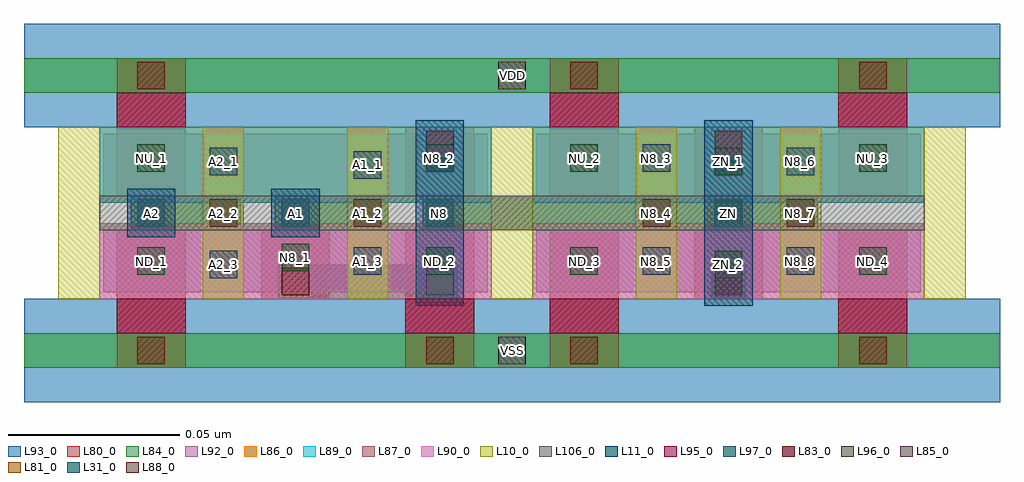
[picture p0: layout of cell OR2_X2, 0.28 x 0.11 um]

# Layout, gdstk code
import gdstk
lib = gdstk.Library(unit=1e-6, precision=1e-09)
def R(c, l, rs):  # rectangles x0, y0, x1, y1
    for r in rs: c.add(gdstk.rectangle(r[:2], r[2:], *l))
def A(c, l, x, y, w, h, nx, ny, dx, dy):  # array of equal rectangles
    R(c, l, [(x+i*dx, y+j*dy, x+i*dx+w, y+j*dy+h) for i in range(nx) for j in range(ny)])
L10_0 = (10, 0)
L11_0 = (11, 0)
L31_0 = (31, 0)
L80_0 = (80, 0)
L81_0 = (81, 0)
L83_0 = (83, 0)
L84_0 = (84, 0)
L85_0 = (85, 0)
L86_0 = (86, 0)
L87_0 = (87, 0)
L88_0 = (88, 0)
L89_0 = (89, 0)
L90_0 = (90, 0)
L92_0 = (92, 0)
L93_0 = (93, 0)
L95_0 = (95, 0)
L96_0 = (96, 0)
L97_0 = (97, 0)
L106_0 = (106, 0)

or2_x2 = lib.new_cell('OR2_X2')
A(or2_x2, L10_0, -0.027, 0.015, 0.012, 0.05, 7, 1, 0.042, 0)
R(or2_x2, L11_0, [(0.077,0.013,0.091,0.047), (0.161,0.013,0.175,0.047), (-0.007,0.033,0.007,0.047), (0.035,0.033,0.049,0.047), (0.077,0.033,0.091,0.067), (0.161,0.033,0.175,0.067)])
A(or2_x2, L31_0, -0.004, 0.036, 0.008, 0.008, 3, 1, 0.042, 0)
R(or2_x2, L31_0, [(0.164,0.036,0.172,0.044)])
A(or2_x2, L80_0, -0.01, 0.015, 0.02, 0.02, 6, 1, 0.042, 0)
R(or2_x2, L80_0, [(-0.01,-0.005,0.01,0.016), (0.074,-0.005,0.094,0.016), (0.116,-0.005,0.136,0.016), (0.2,-0.005,0.22,0.016), (-0.01,0.045,0.01,0.065), (-0.01,0.045,0.01,0.065), (0.074,0.045,0.094,0.065), (0.074,0.045,0.094,0.065), (0.116,0.045,0.136,0.065), (0.116,0.045,0.136,0.065), (0.158,0.045,0.178,0.065), (0.158,0.045,0.178,0.065), (0.2,0.045,0.22,0.065), (0.2,0.045,0.22,0.065), (-0.01,0.056,0.01,0.085), (0.116,0.056,0.136,0.085), (0.2,0.056,0.22,0.085)])
R(or2_x2, L81_0, [(0.017,0.036,0.025,0.044), (0.059,0.036,0.067,0.044), (0.143,0.036,0.151,0.044), (0.185,0.036,0.193,0.044)])
R(or2_x2, L83_0, [(-0.004,-0.004,0.004,0.004), (0.08,-0.004,0.088,0.004), (0.122,-0.004,0.13,0.004), (0.206,-0.004,0.214,0.004), (0.038,0.016,0.046,0.024), (0.164,0.016,0.172,0.024), (0.08,0.056,0.088,0.064), (0.164,0.056,0.172,0.064), (-0.004,0.076,0.004,0.084), (0.122,0.076,0.13,0.084), (0.206,0.076,0.214,0.084)])
A(or2_x2, L84_0, 0.079, 0.035, 0.031, 0.01, 5, 1, 0.021, 0)
R(or2_x2, L84_0, [(-0.037,-0.005,0.247,0.005), (0.037,0.015,0.068,0.025), (0.058,0.015,0.089,0.025), (0.163,0.015,0.173,0.025), (-0.006,0.035,0.026,0.045), (0.036,0.035,0.069,0.045), (0.079,0.055,0.089,0.065), (0.163,0.055,0.173,0.065), (-0.037,0.075,0.247,0.085)])
A(or2_x2, L85_0, -0.004, 0.036, 0.008, 0.008, 3, 1, 0.042, 0)
R(or2_x2, L85_0, [(0.08,0.016,0.088,0.024), (0.164,0.016,0.172,0.024), (0.08,0.056,0.088,0.064), (0.164,0.056,0.172,0.064)])
R(or2_x2, L86_0, [(-0.015,0.043,0.099,0.065), (0.111,0.043,0.225,0.065)])
R(or2_x2, L87_0, [(-0.015,0.015,0.099,0.037), (0.111,0.015,0.225,0.037)])
R(or2_x2, L88_0, [(0.101,-0.004,0.109,0.004), (0.101,0.076,0.109,0.084)])
R(or2_x2, L89_0, [(-0.015,0.043,0.099,0.065), (0.111,0.043,0.225,0.065)])
R(or2_x2, L90_0, [(-0.015,0.015,0.099,0.037), (0.111,0.015,0.225,0.037)])
R(or2_x2, L92_0, [(-0.014,0.017,0.098,0.035), (0.112,0.017,0.224,0.035), (-0.014,0.045,0.098,0.063), (0.112,0.045,0.224,0.063)])
R(or2_x2, L93_0, [(-0.037,-0.015,0.247,0.015), (-0.037,0.065,0.247,0.095)])
R(or2_x2, L95_0, [(-0.01,0.005,0.01,0.015), (0.074,0.005,0.094,0.015), (0.116,0.005,0.136,0.015), (0.2,0.005,0.22,0.015), (-0.01,0.065,0.01,0.075), (0.116,0.065,0.136,0.075), (0.2,0.065,0.22,0.075)])
R(or2_x2, L96_0, [(0.164,0.021,0.172,0.029), (-0.004,0.022,0.004,0.03), (0.08,0.022,0.088,0.03), (0.122,0.022,0.13,0.03), (0.206,0.022,0.214,0.03), (0.038,0.023,0.046,0.031), (0.164,0.051,0.172,0.059), (-0.004,0.052,0.004,0.06), (0.08,0.052,0.088,0.06), (0.122,0.052,0.13,0.06), (0.206,0.052,0.214,0.06)])
A(or2_x2, L97_0, 0.017, 0.021, 0.008, 0.008, 1, 3, 0, 0.015)
A(or2_x2, L97_0, 0.059, 0.022, 0.008, 0.008, 1, 3, 0, 0.014)
R(or2_x2, L97_0, [(0.143,0.022,0.151,0.03), (0.185,0.022,0.193,0.03), (0.143,0.036,0.151,0.044), (0.185,0.036,0.193,0.044), (0.185,0.051,0.193,0.059), (0.143,0.052,0.151,0.06)])
R(or2_x2, L106_0, [(-0.015,0.035,0.225,0.045)])
or2_x2.add(gdstk.Label('VSS', (0.105,0), layer=88, texttype=0))
or2_x2.add(gdstk.Label('VDD', (0.105,0.08), layer=88, texttype=0))
or2_x2.add(gdstk.Label('ZN_2', (0.168,0.025), layer=96, texttype=0))
or2_x2.add(gdstk.Label('ZN_1', (0.168,0.055), layer=96, texttype=0))
or2_x2.add(gdstk.Label('N8_1', (0.042,0.027), layer=96, texttype=0))
or2_x2.add(gdstk.Label('N8_2', (0.084,0.056), layer=96, texttype=0))
or2_x2.add(gdstk.Label('ND_1', (0,0.026), layer=96, texttype=0))
or2_x2.add(gdstk.Label('ND_2', (0.084,0.026), layer=96, texttype=0))
or2_x2.add(gdstk.Label('ND_3', (0.126,0.026), layer=96, texttype=0))
or2_x2.add(gdstk.Label('ND_4', (0.21,0.026), layer=96, texttype=0))
or2_x2.add(gdstk.Label('NU_3', (0.21,0.056), layer=96, texttype=0))
or2_x2.add(gdstk.Label('NU_2', (0.126,0.056), layer=96, texttype=0))
or2_x2.add(gdstk.Label('NU_1', (0,0.056), layer=96, texttype=0))
or2_x2.add(gdstk.Label('ZN', (0.168,0.04), layer=31, texttype=0))
or2_x2.add(gdstk.Label('N8', (0.084,0.04), layer=31, texttype=0))
or2_x2.add(gdstk.Label('A1', (0.042,0.04), layer=31, texttype=0))
or2_x2.add(gdstk.Label('A2', (0,0.04), layer=31, texttype=0))
or2_x2.add(gdstk.Label('N8_6', (0.189,0.055), layer=97, texttype=0))
or2_x2.add(gdstk.Label('N8_7', (0.189,0.04), layer=97, texttype=0))
or2_x2.add(gdstk.Label('N8_8', (0.189,0.026), layer=97, texttype=0))
or2_x2.add(gdstk.Label('N8_5', (0.147,0.026), layer=97, texttype=0))
or2_x2.add(gdstk.Label('N8_4', (0.147,0.04), layer=97, texttype=0))
or2_x2.add(gdstk.Label('N8_3', (0.147,0.056), layer=97, texttype=0))
or2_x2.add(gdstk.Label('A1_3', (0.063,0.026), layer=97, texttype=0))
or2_x2.add(gdstk.Label('A1_2', (0.063,0.04), layer=97, texttype=0))
or2_x2.add(gdstk.Label('A1_1', (0.063,0.054), layer=97, texttype=0))
or2_x2.add(gdstk.Label('A2_3', (0.021,0.025), layer=97, texttype=0))
or2_x2.add(gdstk.Label('A2_2', (0.021,0.04), layer=97, texttype=0))
or2_x2.add(gdstk.Label('A2_1', (0.021,0.055), layer=97, texttype=0))

lib.write_gds('OR2_X2.gds')
